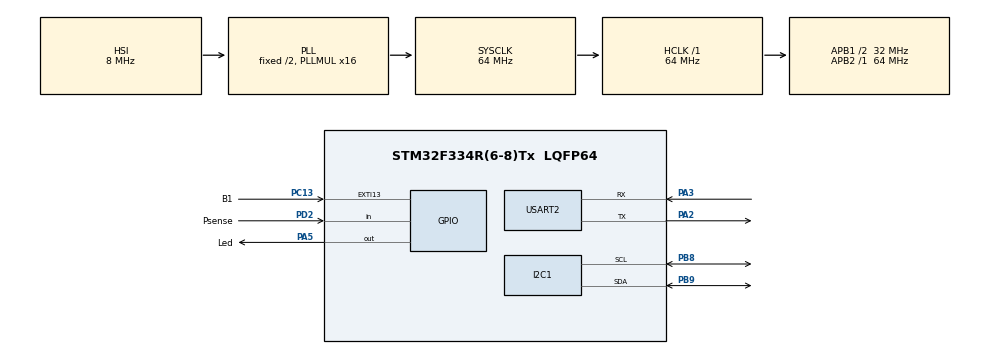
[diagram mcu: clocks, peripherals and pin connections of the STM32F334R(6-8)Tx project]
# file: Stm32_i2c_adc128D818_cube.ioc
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Mcu.Family=STM32F3
I2C1.Speed=100
Dma.I2C1_RX.0.PeriphInc=DMA_PINC_DISABLE
RCC.CortexFreq_Value=64000000
Dma.I2C1_RX.0.MemDataAlignment=DMA_MDATAALIGN_BYTE
NVIC.DMA1_Channel5_IRQn=true\:0\:0\:false\:false\:true\:false\:true
NVIC.I2C1_EV_IRQn=true\:0\:0\:false\:false\:true\:true\:true
PC13.Signal=GPXTI13
TIM1.Channel-Output\ Compare1\ No\ Output=TIM_CHANNEL_1
RCC.SYSCLKSourceVirtual=RCC_SYSCLKSOURCE_PLLCLK
PC13.GPIO_Label=B1
RCC.APB1CLKDivider=RCC_HCLK_DIV2
NVIC.USART2_IRQn=true\:0\:0\:false\:false\:true\:true\:true
ProjectManager.StackSize=0x400
VP_TIM1_VS_no_output1.Mode=Output Compare1 No Output
PA3.Mode=Asynchronous
TIM1.Prescaler=63
ProjectManager.TargetToolchain=Other Toolchains (GPDSC)
RCC.HCLKFreq_Value=64000000
PB9.Mode=I2C
RCC.APB2TimFreq_Value=64000000
I2C1.Timing=0x2000090E
Dma.I2C1_RX.0.MemInc=DMA_MINC_ENABLE
Dma.I2C1_RX.0.PeriphDataAlignment=DMA_PDATAALIGN_BYTE
RCC.LSE_VALUE=32768
RCC.AHBFreq_Value=64000000
Dma.I2C1_RX.0.Priority=DMA_PRIORITY_LOW
NVIC.EXTI15_10_IRQn=true\:0\:0\:false\:false\:true\:true\:true
PA5.Signal=GPIO_Output
RCC.HSE_VALUE=8000000
NVIC.TIM1_BRK_TIM15_IRQn=true\:0\:0\:false\:false\:true\:true\:true
board=TestI2C
Dma.I2C1_RX.0.Mode=DMA_NORMAL
USART2.VirtualMode-Asynchronous=VM_ASYNC
RCC.PLLMUL=RCC_PLL_MUL16
NVIC.TIM1_TRG_COM_TIM17_IRQn=true\:0\:0\:false\:false\:true\:true\:true
RCC.APB2Freq_Value=64000000
Dma.I2C1_RX.0.Direction=DMA_PERIPH_TO_MEMORY
Mcu.Name=STM32F334R(6-8)Tx
VP_TIM1_VS_ClockSourceINT.Mode=Internal
PA2.Signal=USART2_TX
NVIC.TIM1_CC_IRQn=true\:0\:0\:false\:false\:true\:true\:true
RCC.SYSCLKFreq_VALUE=64000000
Mcu.Package=LQFP64
PB9.Signal=I2C1_SDA
TIM1.Pulse-Output\ Compare1\ No\ Output=4999
PA5.GPIO_Label=Led
PC13.GPIO_ModeDefaultEXTI=GPIO_MODE_IT_FALLING
ProjectManager.HeapSize=0x200
USART2.WordLength=WORDLENGTH_8B
RCC.HSI_VALUE=8000000
NVIC.TIM1_UP_TIM16_IRQn=true\:0\:0\:false\:false\:true\:true\:true
NVIC.PriorityGroup=NVIC_PRIORITYGROUP_4
PB8.Mode=I2C
RCC.APB1TimFreq_Value=64000000
PB8.Signal=I2C1_SCL
PA2.Mode=Asynchronous
TIM1.Period=9999
PD2.Signal=GPIO_Input
Dma.Request0=I2C1_RX
RCC.APB1Freq_Value=32000000
Dma.I2C1_RX.0.Instance=DMA1_Channel5
PD2.GPIO_Label=Psense
PA3.Signal=USART2_RX

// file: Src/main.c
/* USER CODE BEGIN Header */
/**
  ******************************************************************************
  * @file           : main.c
  * @brief          : Main program body
  ******************************************************************************
  * @attention
  *
  * <h2><center>&copy; Copyright (c) 2022 STMicroelectronics.
  * All rights reserved.</center></h2>
  *
  * This software component is licensed by ST under BSD 3-Clause license,
  * the "License"; You may not use this file except in compliance with the
  * License. You may obtain a copy of the License at:
  *                        opensource.org/licenses/BSD-3-Clause
  *
  ******************************************************************************
  */
/* USER CODE END Header */
#include "main.h"
#include "dma.h"
#include "i2c.h"
#include "tim.h"
#include "usart.h"
#include "gpio.h"

/* USER CODE BEGIN Includes */
#include "SensorReport.h"
/* USER CODE END Includes */

void SystemClock_Config(void);

int main(void)
{

  /* MCU Configuration--------------------------------------------------------*/

  /* Reset of all peripherals, Initializes the Flash interface and the Systick. */
  HAL_Init();

  /* Configure the system clock */
  SystemClock_Config();

  /* Initialize all configured peripherals */
  MX_GPIO_Init();
  MX_DMA_Init();
  MX_I2C1_Init();
  MX_TIM1_Init();
  MX_USART2_UART_Init();
#define CPU_CORE_FREQUENCY_HZ 64000000
  SWO_Init(0x1, CPU_CORE_FREQUENCY_HZ);
  SWO_PrintString("hello world with SWO\r\n", 0);

//			ITM_SendChar('a');

  /* USER CODE BEGIN 2 */
	initializeSensorReport();

	HAL_TIM_Base_Start_IT(&htim1); // will call the PeriodElapsed IT
  /* USER CODE END 2 */

  /* Infinite loop */
  while (1)
  {
	  doReport();
	  HAL_Delay(1000);
  }
}

void SystemClock_Config(void)
{
  RCC_OscInitTypeDef RCC_OscInitStruct = {0};
  RCC_ClkInitTypeDef RCC_ClkInitStruct = {0};
  RCC_PeriphCLKInitTypeDef PeriphClkInit = {0};

  /** Initializes the RCC Oscillators according to the specified parameters
  * in the RCC_OscInitTypeDef structure.
  */
  RCC_OscInitStruct.OscillatorType = RCC_OSCILLATORTYPE_HSI;
  RCC_OscInitStruct.HSIState = RCC_HSI_ON;
  RCC_OscInitStruct.HSICalibrationValue = RCC_HSICALIBRATION_DEFAULT;
  RCC_OscInitStruct.PLL.PLLState = RCC_PLL_ON;
  RCC_OscInitStruct.PLL.PLLSource = RCC_PLLSOURCE_HSI;
  RCC_OscInitStruct.PLL.PLLMUL = RCC_PLL_MUL16;
  if (HAL_RCC_OscConfig(&RCC_OscInitStruct) != HAL_OK)
  {
    Error_Handler();
  }
  /** Initializes the CPU, AHB and APB buses clocks
  */
  RCC_ClkInitStruct.ClockType = RCC_CLOCKTYPE_HCLK|RCC_CLOCKTYPE_SYSCLK
                              |RCC_CLOCKTYPE_PCLK1|RCC_CLOCKTYPE_PCLK2;
  RCC_ClkInitStruct.SYSCLKSource = RCC_SYSCLKSOURCE_PLLCLK;
  RCC_ClkInitStruct.AHBCLKDivider = RCC_SYSCLK_DIV1;
  RCC_ClkInitStruct.APB1CLKDivider = RCC_HCLK_DIV2;
  RCC_ClkInitStruct.APB2CLKDivider = RCC_HCLK_DIV1;

  if (HAL_RCC_ClockConfig(&RCC_ClkInitStruct, FLASH_LATENCY_2) != HAL_OK)
  {
    Error_Handler();
  }
  PeriphClkInit.PeriphClockSelection = RCC_PERIPHCLK_I2C1|RCC_PERIPHCLK_TIM1;
  PeriphClkInit.I2c1ClockSelection = RCC_I2C1CLKSOURCE_HSI;
  PeriphClkInit.Tim1ClockSelection = RCC_TIM1CLK_HCLK;
  if (HAL_RCCEx_PeriphCLKConfig(&PeriphClkInit) != HAL_OK)
  {
    Error_Handler();
  }
}

/* USER CODE BEGIN 4 */

/*!
 * \brief Sends a character over the SWO channel
 * \param c Character to be sent
 * \param portNo SWO channel number, value in the range of 0 to 31
 */
void SWO_PrintChar(char c, uint8_t portNo)
{
	volatile int timeout;

	/* Check if Trace Control Register (ITM->TCR at 0xE0000E80) is set */
	if ((ITM->TCR&ITM_TCR_ITMENA_Msk) == 0) {
		/* check Trace Control Register if ITM trace is enabled*/
		return; /* not enabled? */
	}
	/* Check if the requested channel stimulus port (ITM->TER at 0xE0000E00) is enabled */
	if ((ITM->TER & (1ul << portNo)) == 0) {
		/* check Trace Enable Register if requested port is enabled */
		return; /* requested port not enabled? */
	}
	timeout = 5000; /* arbitrary timeout value */
	while (ITM->PORT[0].u32 == 0) {
		/* Wait until STIMx is ready, then send data */
		timeout--;
		if (timeout == 0) {
			return; /* not able to send */
		}
	}
	ITM->PORT[0].u16 = 0x08 | (c << 8);
}
/*!
 * \brief Sends a string over SWO to the host
 * \param s String to send
 * \param portNumber Port number, 0-31, use 0 for normal debug strings
 */
void SWO_PrintString(const char *s, uint8_t portNumber)
{
	while (*s != '\0') {
		SWO_PrintChar(*s++, portNumber);
	}
}
/*!
 * \brief Initialize the SWO trace port for debug message printing
 * \param portBits Port bit mask to be configured
 * \param cpuCoreFreqHz CPU core clock frequency in Hz
 */
void SWO_Init(uint32_t portBits, uint32_t cpuCoreFreqHz)
{
	uint32_t SWOSpeed = 64000; /* default 64k baud rate */
	uint32_t SWOPrescaler = (cpuCoreFreqHz / SWOSpeed) - 1; /* SWOSpeed in Hz, note that cpuCoreFreqHz is expected to be match the CPU core clock */

	CoreDebug->DEMCR = CoreDebug_DEMCR_TRCENA_Msk; /* enable trace in core debug */
	*((volatile unsigned *)(ITM_BASE + 0x400F0)) = 0x00000002; /* "Selected PIN Protocol Register": Select which protocol to use for trace output (2: SWO NRZ, 1: SWO Manchester encoding) */
	*((volatile unsigned *)(ITM_BASE + 0x40010)) = SWOPrescaler; /* "Async Clock Prescaler Register". Scale the baud rate of the asynchronous output */
	*((volatile unsigned *)(ITM_BASE + 0x00FB0)) = 0xC5ACCE55; /* ITM Lock Access Register, C5ACCE55 enables more write access to Control Register 0xE00 :: 0xFFC */
	ITM->TCR = ITM_TCR_TraceBusID_Msk | ITM_TCR_SWOENA_Msk | ITM_TCR_SYNCENA_Msk | ITM_TCR_ITMENA_Msk; /* ITM Trace Control Register */
	ITM->TPR = ITM_TPR_PRIVMASK_Msk; /* ITM Trace Privilege Register */
	ITM->TER = portBits; /* ITM Trace Enable Register. Enabled tracing on stimulus ports. One bit per stimulus port. */
	*((volatile unsigned *)(ITM_BASE + 0x01000)) = 0x400003FE; /* DWT_CTRL */
	*((volatile unsigned *)(ITM_BASE + 0x40304)) = 0x00000100; /* Formatter and Flush Control Register */
}

void delay_us_DWT(unsigned long  uSec)
{
	volatile uint32_t cycles = (SystemCoreClock / 1000000L)*uSec;
	volatile uint32_t start = DWT->CYCCNT;
	do {
	} while (DWT->CYCCNT - start < cycles);
}

#define SLOTS 4
static volatile uint32_t start[4];

void start_us_DWT(int slot)
{
	if (slot < SLOTS) {
		start[slot] = DWT->CYCCNT;
	}
}

unsigned int get_us_DWT(int slot)
{
	if (slot < SLOTS) {
		unsigned long long val;
		if (DWT->CYCCNT < start[slot]) {
			val = (DWT->CYCCNT - start[slot]) + (1LL << 32);
		} else {
			val = (DWT->CYCCNT - start[slot]);
		}
		return val * 1000000L / SystemCoreClock;
	}
	return 0xFFFFFFFF;
}
/* USER CODE END 4 */

void Error_Handler(void)
{
  __disable_irq();
  while (1)
  {
  }
}

/************************ (C) COPYRIGHT STMicroelectronics *****END OF FILE****/
